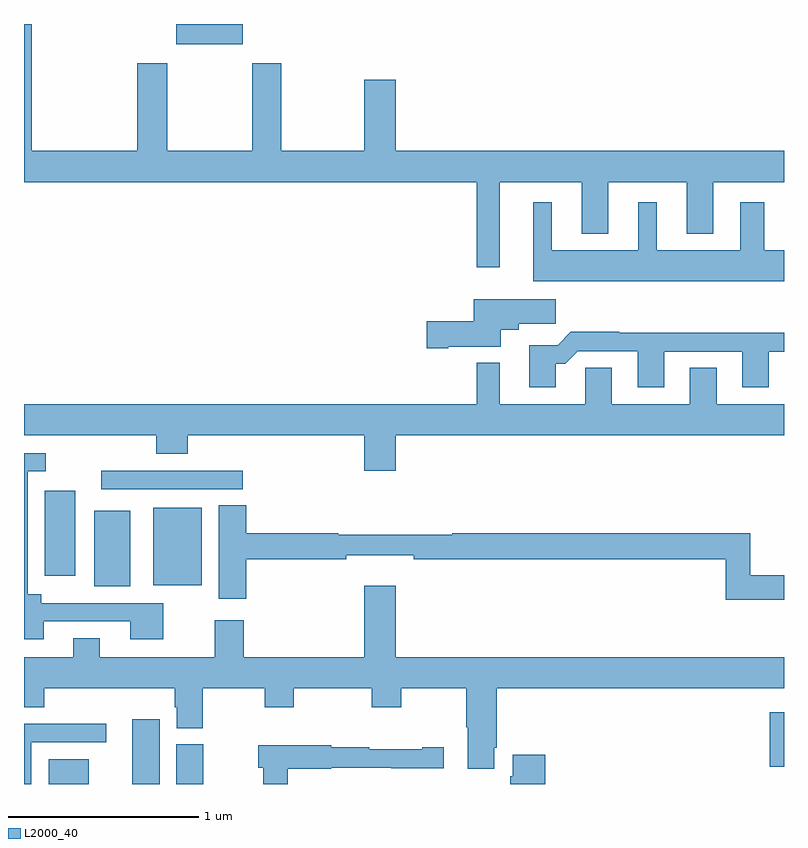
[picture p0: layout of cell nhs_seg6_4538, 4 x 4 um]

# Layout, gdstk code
import gdstk
lib = gdstk.Library(unit=1e-6, precision=1e-09)
def R(c, l, rs):  # rectangles x0, y0, x1, y1
    for r in rs: c.add(gdstk.rectangle(r[:2], r[2:], *l))
def P(c, l, *ps):  # polygons
    for p in ps: c.add(gdstk.Polygon(p, *l))
L2000_40 = (2000, 40)

nhs_seg6_4538 = lib.new_cell('nhs_seg6_4538')
R(nhs_seg6_4538, L2000_40, [(379.13,945.5,379.342,945.631), (379.571,945.5,379.714,945.841), (379.802,945.5,379.944,945.708), (382.925,945.59,383,945.877), (379.37,946.541,379.558,946.939), (379.679,946.547,379.936,946.954), (379.109,946.596,379.27,947.044), (379.407,947.052,380.152,947.148), (379.802,949.394,380.152,949.5)])
P(nhs_seg6_4538, L2000_40, [(381.505,948.668),(381.935,948.668),(381.935,948.395),(382.075,948.395),(382.075,948.668),(382.487,948.668),(382.487,948.395),(382.627,948.395),(382.627,948.668),(383,948.668),(383,948.832),(380.956,948.832),(380.956,949.207),(380.792,949.207),(380.792,948.832),(380.355,948.832),(380.355,949.294),(380.2,949.294),(380.2,948.832),(379.755,948.832),(379.755,949.294),(379.595,949.294),(379.595,948.832),(379.04,948.832),(379.04,949.5),(379,949.5),(379,948.668),(381.384,948.668),(381.384,948.219),(381.505,948.219)],
  [(383,948.31),(382.897,948.31),(382.897,948.562),(382.769,948.562),(382.769,948.31),(382.33,948.31),(382.33,948.562),(382.232,948.562),(382.232,948.31),(381.778,948.31),(381.778,948.562),(381.68,948.562),(381.68,948.146),(383,948.146)],
  [(381.232,947.801),(381.508,947.801),(381.508,947.891),(381.604,947.891),(381.604,947.923),(381.799,947.923),(381.799,948.052),(381.368,948.052),(381.368,947.936),(381.12,947.936),(381.12,947.794),(381.232,947.794)],
  [(381.799,947.711),(381.848,947.711),(381.915,947.778),(382.229,947.778),(382.229,947.589),(382.369,947.589),(382.369,947.775),(382.781,947.775),(382.781,947.589),(382.921,947.589),(382.921,947.775),(383,947.775),(383,947.876),(382.133,947.876),(382.133,947.879),(381.878,947.879),(381.808,947.809),(381.659,947.809),(381.659,947.589),(381.799,947.589)],
  [(380.956,947.336),(383,947.336),(383,947.5),(382.645,947.5),(382.645,947.69),(382.505,947.69),(382.505,947.5),(382.093,947.5),(382.093,947.69),(381.954,947.69),(381.954,947.5),(381.505,947.5),(381.505,947.716),(381.384,947.716),(381.384,947.5),(379,947.5),(379,947.336),(379.697,947.336),(379.697,947.237),(379.862,947.237),(379.862,947.336),(380.792,947.336),(380.792,947.148),(380.956,947.148)],
  [(379.105,946.356),(379.559,946.356),(379.559,946.262),(379.732,946.262),(379.732,946.452),(379.09,946.452),(379.09,946.498),(379.02,946.498),(379.02,947.145),(379.114,947.145),(379.114,947.241),(379,947.241),(379,946.262),(379.105,946.262)],
  [(383,946.598),(382.822,946.598),(382.822,946.82),(381.254,946.82),(381.254,946.813),(380.654,946.813),(380.654,946.82),(380.171,946.82),(380.171,946.967),(380.024,946.967),(380.024,946.476),(380.171,946.476),(380.171,946.684),(380.696,946.684),(380.696,946.703),(381.052,946.703),(381.052,946.684),(382.693,946.684),(382.693,946.47),(383,946.47)],
  [(381.475,945.691),(381.488,945.691),(381.488,946.004),(383,946.004),(383,946.168),(380.956,946.168),(380.956,946.543),(380.792,946.543),(380.792,946.168),(380.156,946.168),(380.156,946.363),(380.003,946.363),(380.003,946.168),(379.399,946.168),(379.399,946.267),(379.259,946.267),(379.259,946.168),(379,946.168),(379,945.905),(379.106,945.905),(379.106,946.004),(379.793,946.004),(379.793,945.903),(379.805,945.903),(379.805,945.793),(379.941,945.793),(379.941,946.004),(380.266,946.004),(380.266,945.905),(380.421,945.905),(380.421,946.004),(380.83,946.004),(380.83,945.905),(380.985,945.905),(380.985,946.004),(381.328,946.004),(381.328,945.8),(381.335,945.8),(381.335,945.579),(381.475,945.579)],
  [(379.039,945.72),(379.432,945.72),(379.432,945.818),(379,945.818),(379,945.5),(379.039,945.5)],
  [(380.388,945.581),(380.616,945.581),(380.616,945.585),(380.932,945.585),(380.932,945.584),(381.208,945.584),(381.208,945.694),(381.095,945.694),(381.095,945.684),(380.816,945.684),(380.816,945.694),(380.616,945.694),(380.616,945.703),(380.233,945.703),(380.233,945.585),(380.258,945.585),(380.258,945.5),(380.388,945.5)],
  [(381.743,945.655),(381.572,945.655),(381.572,945.54),(381.56,945.54),(381.56,945.5),(381.743,945.5)])

lib.write_gds('nhs_seg6_4538.gds')
